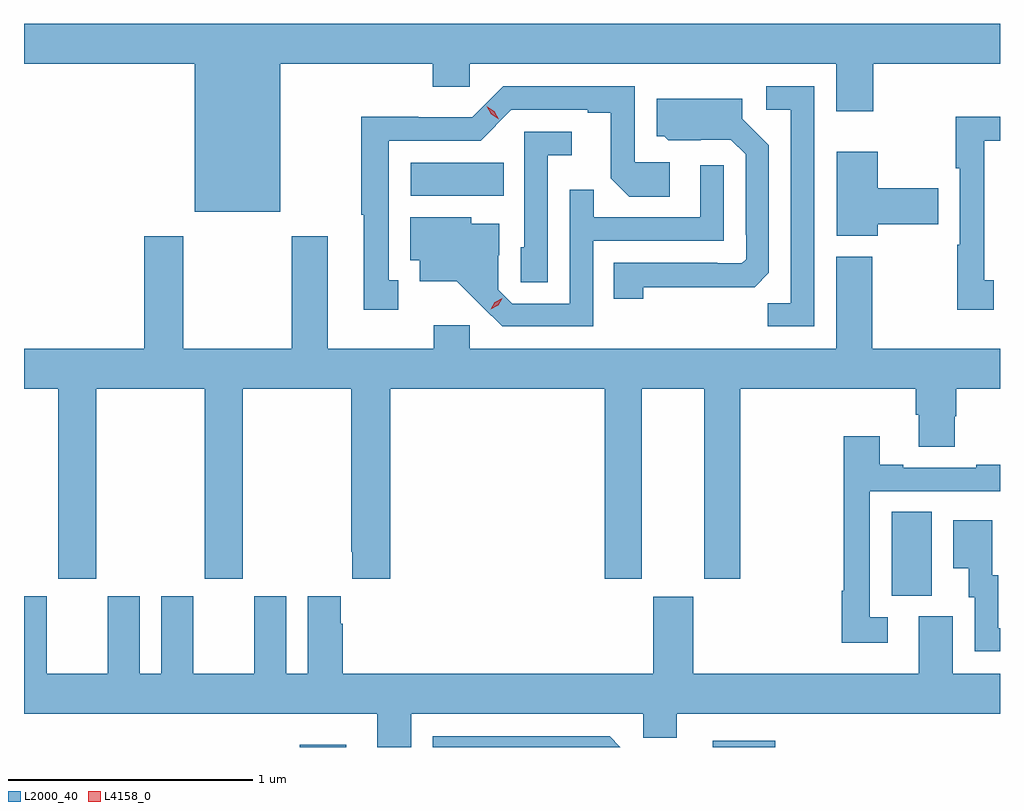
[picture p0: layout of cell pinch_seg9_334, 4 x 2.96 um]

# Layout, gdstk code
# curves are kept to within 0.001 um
import gdstk
lib = gdstk.Library(unit=1e-6, precision=1e-09)
def R(c, l, rs):  # rectangles x0, y0, x1, y1
    for r in rs: c.add(gdstk.rectangle(r[:2], r[2:], *l))
def P(c, l, *ps):  # polygons
    for p in ps: c.add(gdstk.Polygon(p, *l))
L2000_40 = (2000, 40)
L4158_0 = (4158, 0)

pinch_seg9_334 = lib.new_cell('pinch_seg9_334')
R(pinch_seg9_334, L2000_40, [(635.533,1178.968,635.722,1178.977), (637.224,1178.968,637.481,1178.994), (637.958,1179.589,638.122,1179.932), (635.988,1181.228,636.368,1181.362)])
P(pinch_seg9_334, L2000_40, [(635.452,1181.768),(636.077,1181.768),(636.077,1181.675),(636.228,1181.675),(636.228,1181.768),(637.73,1181.768),(637.73,1181.574),(637.883,1181.574),(637.883,1181.768),(638.402,1181.768),(638.402,1181.932),(634.402,1181.932),(634.402,1181.768),(635.102,1181.768),(635.102,1181.162),(635.452,1181.162)],
  [(637.641,1181.676),(637.443,1181.676),(637.443,1181.58),(637.545,1181.58),(637.545,1180.787),(637.45,1180.787),(637.45,1180.692),(637.641,1180.692)],
  [(635.935,1180.881),(635.896,1180.881),(635.896,1181.454),(636.273,1181.454),(636.399,1181.58),(636.713,1181.58),(636.713,1181.568),(636.807,1181.568),(636.807,1181.3),(636.883,1181.224),(637.048,1181.224),(637.048,1181.364),(636.906,1181.364),(636.906,1181.676),(636.366,1181.676),(636.24,1181.55),(636.018,1181.55),(636.018,1181.552),(635.785,1181.552),(635.785,1181.149),(635.795,1181.149),(635.795,1180.761),(635.935,1180.761)],
  [(636.939,1180.852),(637.396,1180.853),(637.455,1180.912),(637.455,1181.434),(637.345,1181.544),(637.345,1181.626),(636.995,1181.626),(636.995,1181.472),(637.026,1181.472),(637.042,1181.456),(637.299,1181.457),(637.359,1181.397),(637.359,1181.068),(637.362,1181.068),(637.362,1180.968),(637.344,1180.95),(637.244,1180.95),(637.244,1180.953),(636.82,1180.953),(636.82,1180.806),(636.939,1180.806)],
  [(638.377,1180.881),(638.338,1180.881),(638.338,1181.454),(638.402,1181.454),(638.402,1181.552),(638.22,1181.552),(638.22,1181.341),(638.237,1181.341),(638.237,1181.027),(638.227,1181.027),(638.227,1180.761),(638.377,1180.761)],
  [(636.549,1181.393),(636.646,1181.393),(636.646,1181.49),(636.453,1181.49),(636.453,1181.016),(636.438,1181.016),(636.438,1180.873),(636.549,1180.873)],
  [(637.9,1181.111),(638.149,1181.111),(638.149,1181.258),(637.9,1181.258),(637.9,1181.407),(637.733,1181.407),(637.733,1181.063),(637.9,1181.063)],
  [(636.735,1181.043),(637.269,1181.043),(637.269,1181.353),(637.173,1181.353),(637.173,1181.139),(636.737,1181.139),(636.737,1181.252),(636.639,1181.252),(636.639,1180.785),(636.402,1180.785),(636.345,1180.842),(636.345,1180.984),(636.349,1180.984),(636.349,1181.113),(636.234,1181.113),(636.234,1181.14),(635.984,1181.14),(635.984,1180.964),(636.023,1180.964),(636.023,1180.877),(636.175,1180.877),(636.362,1180.692),(636.735,1180.692)],
  [(634.698,1180.436),(635.143,1180.436),(635.143,1179.657),(635.298,1179.657),(635.298,1180.436),(635.743,1180.436),(635.743,1179.769),(635.747,1179.769),(635.747,1179.657),(635.903,1179.657),(635.903,1180.436),(636.782,1180.436),(636.782,1179.657),(636.934,1179.657),(636.934,1180.436),(637.19,1180.436),(637.19,1179.657),(637.338,1179.657),(637.338,1180.436),(638.057,1180.436),(638.057,1180.33),(638.069,1180.33),(638.069,1180.198),(638.217,1180.198),(638.217,1180.323),(638.222,1180.323),(638.222,1180.436),(638.402,1180.436),(638.402,1180.6),(637.878,1180.6),(637.878,1180.978),(637.73,1180.978),(637.73,1180.6),(636.228,1180.6),(636.228,1180.696),(636.082,1180.696),(636.082,1180.6),(635.647,1180.6),(635.647,1181.062),(635.5,1181.062),(635.5,1180.6),(635.055,1180.6),(635.055,1181.062),(634.895,1181.062),(634.895,1180.6),(634.402,1180.6),(634.402,1180.436),(634.543,1180.436),(634.543,1179.657),(634.698,1179.657)],
  [(637.942,1179.501),(637.869,1179.501),(637.869,1180.017),(638.402,1180.017),(638.402,1180.126),(638.305,1180.126),(638.305,1180.113),(638.005,1180.113),(638.005,1180.126),(637.909,1180.126),(637.909,1180.243),(637.761,1180.243),(637.761,1179.608),(637.753,1179.608),(637.753,1179.396),(637.942,1179.396)],
  [(638.402,1179.456),(638.395,1179.456),(638.395,1179.672),(638.371,1179.672),(638.371,1179.898),(638.21,1179.898),(638.21,1179.701),(638.273,1179.701),(638.273,1179.582),(638.298,1179.582),(638.298,1179.36),(638.402,1179.36)],
  [(636.98,1179.268),(635.708,1179.268),(635.708,1179.473),(635.701,1179.473),(635.701,1179.586),(635.564,1179.586),(635.564,1179.268),(635.476,1179.268),(635.476,1179.586),(635.345,1179.586),(635.345,1179.268),(635.095,1179.268),(635.095,1179.586),(634.964,1179.586),(634.964,1179.268),(634.876,1179.268),(634.876,1179.586),(634.745,1179.586),(634.745,1179.268),(634.495,1179.268),(634.495,1179.586),(634.402,1179.586),(634.402,1179.104),(635.849,1179.104),(635.849,1178.968),(635.989,1178.968),(635.989,1179.104),(636.939,1179.104),(636.939,1179.006),(637.078,1179.006),(637.078,1179.104),(638.402,1179.104),(638.402,1179.268),(638.209,1179.268),(638.209,1179.504),(638.069,1179.504),(638.069,1179.268),(637.144,1179.268),(637.144,1179.585),(636.98,1179.585)],
  [(636.802,1179.012),(636.078,1179.012),(636.078,1178.968),(636.846,1178.968)])
P(pinch_seg9_334, L4158_0, [(636.348,1181.542),(636.316,1181.561),(636.298,1181.594),(636.298,1181.594),(636.299,1181.594),(636.33,1181.575),(636.348,1181.542),(636.348,1181.542)],
  [(636.315,1180.762),(636.315,1180.763),(636.332,1180.792),(636.362,1180.808),(636.363,1180.808),(636.363,1180.808),(636.346,1180.778),(636.315,1180.762)])

lib.write_gds('pinch_seg9_334.gds')
